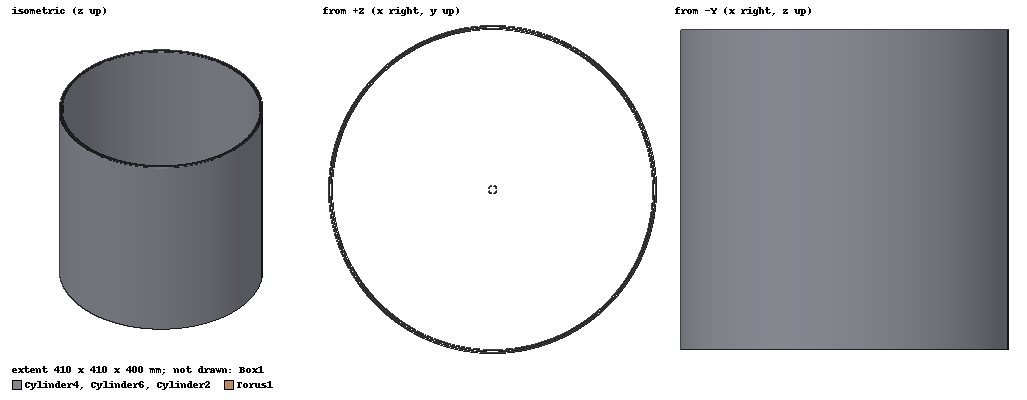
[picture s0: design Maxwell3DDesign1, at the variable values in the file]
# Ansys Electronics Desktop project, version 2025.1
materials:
  vacuum: permittivity=1
  ferrite: permittivity=12 permeability=1000 conductivity=0.01
  copper: permeability=0.999991 conductivity=58000000

design Maxwell3DDesign1 (Maxwell 3D, Magnetostatic, model units mm)
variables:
  g = (5mm-3*a)/2
  a = 1mm
  b = 0mm
  t = 1mm
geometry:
  Cylinder1 = cylinder(axis=Z, base_centre=(0mm, 0mm, -200mm), radius=200mm, height=400mm)
  Cylinder2 [ferrite] = cylinder(axis=Z, base_centre=(0mm, 0mm, -200mm), radius=200mm+a, height=400mm)
  Cylinder2.subtract(Cylinder1)
  Cylinder3 = cylinder(axis=Z, base_centre=(0mm, 0mm, -200mm), radius=205mm-a, height=400mm)
  Cylinder4 [ferrite] = cylinder(axis=Z, base_centre=(0mm, 0mm, -200mm), radius=205mm, height=400mm)
  Cylinder4.subtract(Cylinder3)
  Torus1 [copper] = torus(axis=Z, centre=(0mm, 0mm, 0mm), major_radius=5mm, minor_radius=0.5mm)
  Torus1_Section1 [copper] = Torus1.section(plane=YZ)
  Torus1_Section1.separate_bodies()
  Box1 [vacuum] = box(corner=(-400mm, -400mm, -400mm), size=(800mm, 800mm, 800mm))
  Cylinder5 = cylinder(axis=Z, base_centre=(0mm, 0mm, -200mm), radius=200mm + a + g, height=400mm)
  Cylinder6 [ferrite] = cylinder(axis=Z, base_centre=(0mm, 0mm, -200mm), radius=200mm + 2*a + g, height=400mm)
  Cylinder6.subtract(Cylinder5)
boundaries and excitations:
  Current2: Current Objects=Torus1_Section1 Current=1mA IsSolid=true Point_out_of_terminal=false
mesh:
  initial mesh: GlobalCurvilinear{Apply}
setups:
  Setup1: Magnetostatic MaximumPasses=100 MinimumPasses=2 MinimumConvergedPasses=1 PercentRefinement=30 PercentError=1 NonLinearResidual=0.001
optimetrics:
  ParametricSetup1: Parametric Sim._Setups=[Setup1]
    sweep a: LIN 0.5mm 1.5mm 0.1mm
  ParametricSetup2: Parametric Sim._Setups=[Setup1]
    sweep a: LIN 0.5mm 1.5mm 0.1mm
  ParametricSetup3: Parametric Sim._Setups=[Setup1]
    sweep a: LIN 0.5mm 1.5mm 0.1mm
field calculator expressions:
  IntH2_cyl2 = Mag_H | Mag_H | * | EnterVolume(Cylinder2) | VolumeValue | Integrate
  IntH2_cyl4 = Mag_H | Mag_H | * | EnterVolume(Cylinder4) | VolumeValue | Integrate
  IntH2_total = IntH2_cyl2 | IntH2_cyl4 | +
  IntH2_s1 = Mag_H | Mag_H | * | EnterVolume(Cylinder2) | VolumeValue | Integrate
  IntH2_s2 = Mag_H | Mag_H | * | EnterVolume(Cylinder4) | VolumeValue | Integrate
  IntH2_s3 = Mag_H | Mag_H | * | EnterVolume(Cylinder6) | VolumeValue | Integrate
  IntH2_intotal = IntH2_s1 | IntH2_s2 | + | IntH2_s3 | +
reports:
  Calculator Expressions Plot1: IntH2_intotal vs a on Setup1 : LastAdaptive
  Calculator Expressions Table1: IntH2_intotal vs a on Setup1 : LastAdaptive
